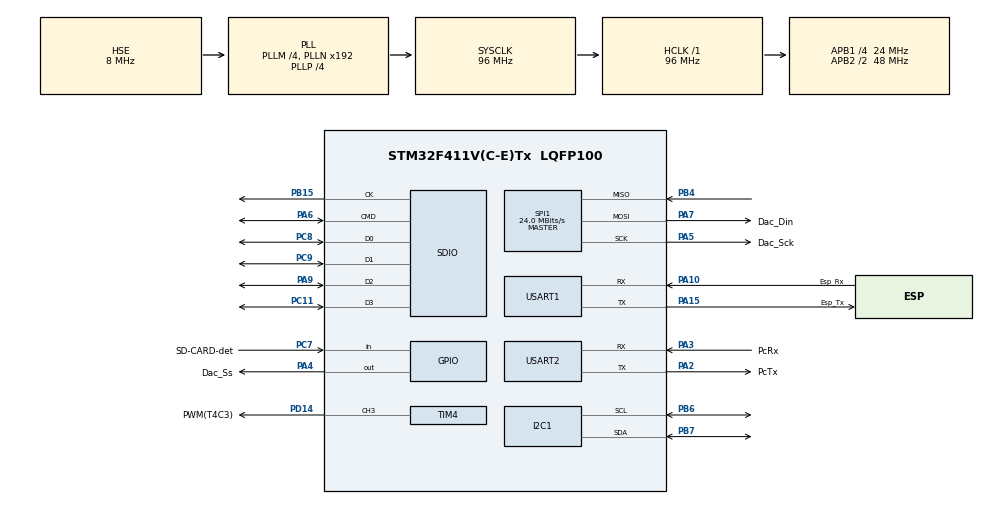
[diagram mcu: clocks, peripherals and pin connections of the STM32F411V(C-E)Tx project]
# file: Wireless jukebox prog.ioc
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FATFS._USE_LFN=0
Mcu.Family=STM32F4
Mcu.Name=STM32F411V(C-E)Tx
Mcu.Package=LQFP100
NVIC.PriorityGroup=NVIC_PRIORITYGROUP_4
NVIC.TIM3_IRQn=true\:0\:0\:false
PA10.GPIO_Label=Esp_Rx
PA10.Mode=Asynchronous
PA10.Signal=USART1_RX
PA13.Signal=SYS_JTMS-SWDIO
PA14.Signal=SYS_JTCK-SWCLK
PA15.GPIO_Label=Esp_Tx
PA15.Mode=Asynchronous
PA15.Signal=USART1_TX
PA2.GPIO_Label=PcTx
PA2.Mode=Asynchronous
PA2.Signal=USART2_TX
PA3.GPIO_Label=PcRx
PA3.Mode=Asynchronous
PA3.Signal=USART2_RX
PA4.GPIO_Label=Dac_Ss
PA4.Signal=GPIO_Output
PA5.GPIO_Label=Dac_Sck
PA5.Mode=Full_Duplex_Master
PA5.Signal=SPI1_SCK
PA6.Mode=SD_4_bits_Wide_bus
PA6.Signal=SDIO_CMD
PA7.GPIO_Label=Dac_Din
PA7.Mode=Full_Duplex_Master
PA7.Signal=SPI1_MOSI
PA9.Mode=SD_4_bits_Wide_bus
PA9.Signal=SDIO_D2
PB15.Mode=SD_4_bits_Wide_bus
PB15.Signal=SDIO_CK
PB3.Signal=SYS_JTDO-SWO
PB4.Mode=Full_Duplex_Master
PB4.Signal=SPI1_MISO
PB6.Mode=I2C
PB6.Signal=I2C1_SCL
PB7.Mode=I2C
PB7.Signal=I2C1_SDA
PC11.Mode=SD_4_bits_Wide_bus
PC11.Signal=SDIO_D3
PC7.GPIO_Label=SD-CARD-det
PC7.Signal=GPIO_Input
PC8.Mode=SD_4_bits_Wide_bus
PC8.Signal=SDIO_D0
PC9.Mode=SD_4_bits_Wide_bus
PC9.Signal=SDIO_D1
PD14.GPIO_Label=PWM(T4C3)
PD14.Signal=S_TIM4_CH3
PH0\ -\ OSC_IN.Mode=HSE-External-Oscillator
PH0\ -\ OSC_IN.Signal=RCC_OSC_IN
PH1\ -\ OSC_OUT.Mode=HSE-External-Oscillator
PH1\ -\ OSC_OUT.Signal=RCC_OSC_OUT
ProjectManager.HeapSize=0x400
ProjectManager.StackSize=0x200
ProjectManager.TargetToolchain=TrueSTUDIO
RCC.48MHZClocksFreq_Value=48000000
RCC.AHBFreq_Value=96000000
RCC.APB1CLKDivider=RCC_HCLK_DIV4
RCC.APB1Freq_Value=24000000
RCC.APB1TimFreq_Value=48000000
RCC.APB2CLKDivider=RCC_HCLK_DIV2
RCC.APB2Freq_Value=48000000
RCC.APB2TimFreq_Value=96000000
RCC.CortexFreq_Value=96000000
RCC.HCLKFreq_Value=96000000
RCC.HSE_VALUE=8000000
RCC.HSI_VALUE=16000000
RCC.LSE_VALUE=32768
RCC.PLLM=4
RCC.PLLP=RCC_PLLP_DIV4
RCC.PLLQ=8
RCC.PLLSourceVirtual=RCC_PLLSOURCE_HSE
RCC.SYSCLKFreq_VALUE=96000000
RCC.SYSCLKSource=RCC_SYSCLKSOURCE_PLLCLK
RCC.VCOOutputFreq_Value=384000000
SDIO.BusWide=SDIO_BUS_WIDE_1B
SDIO.ClockDiv=0
SDIO.WideMode=SDIO_BUS_WIDE_4B
SH.S_TIM4_CH3.0=TIM4_CH3,PWM Generation3 CH3
SPI1.BaudRatePrescaler=SPI_BAUDRATEPRESCALER_2
SPI1.CalculateBaudRate=24.0 MBits/s
SPI1.Mode=SPI_MODE_MASTER
TIM3.Period=272
TIM3.Prescaler=3
TIM4.Channel-PWM\ Generation3\ CH3=TIM_CHANNEL_3
TIM4.Period=256
VP_FATFS_VS_SDIO.Mode=SDIO
VP_TIM3_VS_ClockSourceINT.Mode=Internal
VP_TIM4_VS_ClockSourceINT.Mode=Internal
board=Wireless jukebox prog

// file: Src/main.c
/**
  ******************************************************************************
  * File Name          : main.c
  * Description        : Main program body
  ******************************************************************************
  *
  * COPYRIGHT(c) 2016 STMicroelectronics
  *
  * Redistribution and use in source and binary forms, with or without modification,
  * are permitted provided that the following conditions are met:
  *   1. Redistributions of source code must retain the above copyright notice,
  *      this list of conditions and the following disclaimer.
  *   2. Redistributions in binary form must reproduce the above copyright notice,
  *      this list of conditions and the following disclaimer in the documentation
  *      and/or other materials provided with the distribution.
  *   3. Neither the name of STMicroelectronics nor the names of its contributors
  *      may be used to endorse or promote products derived from this software
  *      without specific prior written permission.
  *
  * THIS SOFTWARE IS PROVIDED BY THE COPYRIGHT HOLDERS AND CONTRIBUTORS "AS IS"
  * AND ANY EXPRESS OR IMPLIED WARRANTIES, INCLUDING, BUT NOT LIMITED TO, THE
  * IMPLIED WARRANTIES OF MERCHANTABILITY AND FITNESS FOR A PARTICULAR PURPOSE ARE
  * DISCLAIMED. IN NO EVENT SHALL THE COPYRIGHT HOLDER OR CONTRIBUTORS BE LIABLE
  * FOR ANY DIRECT, INDIRECT, INCIDENTAL, SPECIAL, EXEMPLARY, OR CONSEQUENTIAL
  * DAMAGES (INCLUDING, BUT NOT LIMITED TO, PROCUREMENT OF SUBSTITUTE GOODS OR
  * SERVICES; LOSS OF USE, DATA, OR PROFITS; OR BUSINESS INTERRUPTION) HOWEVER
  * CAUSED AND ON ANY THEORY OF LIABILITY, WHETHER IN CONTRACT, STRICT LIABILITY,
  * OR TORT (INCLUDING NEGLIGENCE OR OTHERWISE) ARISING IN ANY WAY OUT OF THE USE
  * OF THIS SOFTWARE, EVEN IF ADVISED OF THE POSSIBILITY OF SUCH DAMAGE.
  *
  ******************************************************************************
  */
#include "stm32f4xx_hal.h"
#include "fatfs.h"

/* USER CODE BEGIN Includes */

#include <string.h>
#include <stdlib.h>

#include "wav.h"

/* USER CODE END Includes */

I2C_HandleTypeDef hi2c1;

SD_HandleTypeDef hsd;
HAL_SD_CardInfoTypedef SDCardInfo;

SPI_HandleTypeDef hspi1;

TIM_HandleTypeDef htim3;
TIM_HandleTypeDef htim4;

UART_HandleTypeDef huart1;
UART_HandleTypeDef huart2;

/* USER CODE BEGIN PV */
/* Private variables ---------------------------------------------------------*/

// Deze variabelen zijn de buffers voor de wav file
volatile char wavBuffer0[512],wavBuffer1[512];
volatile uint8_t wavBufferSelect = 0;
volatile uint8_t bufferEnd,songEnd = 0;

// Var voor het fatfs filesystem
FATFS SDFatFs;
FIL MyFile;

/* USER CODE END PV */

void SystemClock_Config(void);
static void MX_GPIO_Init(void);
static void MX_I2C1_Init(void);
static void MX_SDIO_SD_Init(void);
static void MX_SPI1_Init(void);
static void MX_TIM4_Init(void);
static void MX_USART2_UART_Init(void);
static void MX_TIM3_Init(void);
static void MX_USART1_UART_Init(void);

void HAL_TIM_MspPostInit(TIM_HandleTypeDef *htim);

/* USER CODE BEGIN PFP */
/* Private function prototypes -----------------------------------------------*/

/* USER CODE END PFP */

/* USER CODE BEGIN 0 */

//
//	Deze interuptroutine wordt opgeroepen bij elke timer comp-match
//
void HAL_TIM_PeriodElapsedCallback(TIM_HandleTypeDef *htim)
{
	static uint16_t teller = 0;

	// We willen enkel de compare van timer3
	if(htim->Instance ==  TIM3)
	{
		if(wavBufferSelect == 0)	// Kijken uit welke buffer we moeten lezen
		{
			__HAL_TIM_SET_COMPARE(&htim4,TIM_CHANNEL_3, wavBuffer0[teller]);
		}
		else
		{
			__HAL_TIM_SET_COMPARE(&htim4,TIM_CHANNEL_3, wavBuffer1[teller]);
		}
		teller++;

		if(teller >= 512)
		{
			bufferEnd = 1;
			wavBufferSelect = ! wavBufferSelect;
			teller = 0;
		}
	}

}

/* USER CODE END 0 */

int main(void)
{

  /* MCU Configuration----------------------------------------------------------*/

  /* Reset of all peripherals, Initializes the Flash interface and the Systick. */
  HAL_Init();

  /* Configure the system clock */
  SystemClock_Config();

  /* Initialize all configured peripherals */
  MX_GPIO_Init();
  MX_I2C1_Init();
  MX_SDIO_SD_Init();
  MX_SPI1_Init();
  MX_TIM4_Init();
  MX_USART2_UART_Init();
  MX_TIM3_Init();
  MX_USART1_UART_Init();
  MX_FATFS_Init();

  /* USER CODE BEGIN 2 */

  // We halen alle titels op vanaf de sd-kaart en slagen deze op in een array
  char * titels[10];
  uint8_t aantal = getTitels(&MyFile,titels,10);
  uint8_t teller = 0;

  // We gaan nu de eerste wav buffer vullen, hiervoor pakken we steeds nummer 0
  probeer(f_open(&MyFile,"0.wav",FA_READ),"openen file 0.wav");
  getData(&MyFile,wavBuffer0,512);
  getData(&MyFile,wavBuffer1,512);
  //f_close(&MyFile);

  // Timer3 en pwm output starten
  HAL_TIM_Base_Start_IT(&htim3);
  HAL_TIM_PWM_Start(&htim4,TIM_CHANNEL_3);

//  // Sd kaart unmounten
//  if(MX_FatFs_Unmount() != 0)
//  {
//    //HAL_GPIO_WritePin(GPIOD,Led_Red_Pin,GPIO_PIN_SET);
//  }

  /* USER CODE END 2 */

  /* Infinite loop */
  while (1)
  {

  /* USER CODE BEGIN 3 */

	  if(bufferEnd == 1)
	  {
		  if(songEnd == 1)			// Als liedje gedaan is, gaan we de timer stoppen
		  {
			  HAL_TIM_Base_Stop_IT(&htim3);
			  HAL_TIM_PWM_Stop(&htim4,TIM_CHANNEL_3);
		  }
		  bufferEnd = 0;
		  if(wavBufferSelect == 0)		// Kijken in welke buffer de interupt aan het lezen is
		  {
			  // Interupt leest in 0, wij schrijven in 1
			  if(getData(&MyFile,wavBuffer1,512) == 1 ) songEnd = 1;

		  }
		  else
		  {
			  if(getData(&MyFile,wavBuffer0,512) == 1 ) songEnd = 1;
		  }

	  }

  }
  /* USER CODE END 3 */

}

/** System Clock Configuration
*/
void SystemClock_Config(void)
{

  RCC_OscInitTypeDef RCC_OscInitStruct;
  RCC_ClkInitTypeDef RCC_ClkInitStruct;

  __PWR_CLK_ENABLE();

  __HAL_PWR_VOLTAGESCALING_CONFIG(PWR_REGULATOR_VOLTAGE_SCALE1);

  RCC_OscInitStruct.OscillatorType = RCC_OSCILLATORTYPE_HSE;
  RCC_OscInitStruct.HSEState = RCC_HSE_ON;
  RCC_OscInitStruct.PLL.PLLState = RCC_PLL_ON;
  RCC_OscInitStruct.PLL.PLLSource = RCC_PLLSOURCE_HSE;
  RCC_OscInitStruct.PLL.PLLM = 4;
  RCC_OscInitStruct.PLL.PLLN = 192;
  RCC_OscInitStruct.PLL.PLLP = RCC_PLLP_DIV4;
  RCC_OscInitStruct.PLL.PLLQ = 8;
  HAL_RCC_OscConfig(&RCC_OscInitStruct);

  RCC_ClkInitStruct.ClockType = RCC_CLOCKTYPE_HCLK|RCC_CLOCKTYPE_SYSCLK
                              |RCC_CLOCKTYPE_PCLK1|RCC_CLOCKTYPE_PCLK2;
  RCC_ClkInitStruct.SYSCLKSource = RCC_SYSCLKSOURCE_PLLCLK;
  RCC_ClkInitStruct.AHBCLKDivider = RCC_SYSCLK_DIV1;
  RCC_ClkInitStruct.APB1CLKDivider = RCC_HCLK_DIV4;
  RCC_ClkInitStruct.APB2CLKDivider = RCC_HCLK_DIV2;
  HAL_RCC_ClockConfig(&RCC_ClkInitStruct, FLASH_LATENCY_3);

  HAL_SYSTICK_Config(HAL_RCC_GetHCLKFreq()/1000);

  HAL_SYSTICK_CLKSourceConfig(SYSTICK_CLKSOURCE_HCLK);

  /* SysTick_IRQn interrupt configuration */
  HAL_NVIC_SetPriority(SysTick_IRQn, 0, 0);
}

/* I2C1 init function */
void MX_I2C1_Init(void)
{

  hi2c1.Instance = I2C1;
  hi2c1.Init.ClockSpeed = 100000;
  hi2c1.Init.DutyCycle = I2C_DUTYCYCLE_2;
  hi2c1.Init.OwnAddress1 = 0;
  hi2c1.Init.AddressingMode = I2C_ADDRESSINGMODE_7BIT;
  hi2c1.Init.DualAddressMode = I2C_DUALADDRESS_DISABLED;
  hi2c1.Init.OwnAddress2 = 0;
  hi2c1.Init.GeneralCallMode = I2C_GENERALCALL_DISABLED;
  hi2c1.Init.NoStretchMode = I2C_NOSTRETCH_DISABLED;
  HAL_I2C_Init(&hi2c1);

}

/* SDIO init function */
void MX_SDIO_SD_Init(void)
{

  hsd.Instance = SDIO;
  hsd.Init.ClockEdge = SDIO_CLOCK_EDGE_RISING;
  hsd.Init.ClockBypass = SDIO_CLOCK_BYPASS_DISABLE;
  hsd.Init.ClockPowerSave = SDIO_CLOCK_POWER_SAVE_DISABLE;
  hsd.Init.BusWide = SDIO_BUS_WIDE_1B;
  hsd.Init.HardwareFlowControl = SDIO_HARDWARE_FLOW_CONTROL_DISABLE;
  hsd.Init.ClockDiv = 0;

}

/* SPI1 init function */
void MX_SPI1_Init(void)
{

  hspi1.Instance = SPI1;
  hspi1.Init.Mode = SPI_MODE_MASTER;
  hspi1.Init.Direction = SPI_DIRECTION_2LINES;
  hspi1.Init.DataSize = SPI_DATASIZE_8BIT;
  hspi1.Init.CLKPolarity = SPI_POLARITY_LOW;
  hspi1.Init.CLKPhase = SPI_PHASE_1EDGE;
  hspi1.Init.NSS = SPI_NSS_SOFT;
  hspi1.Init.BaudRatePrescaler = SPI_BAUDRATEPRESCALER_2;
  hspi1.Init.FirstBit = SPI_FIRSTBIT_MSB;
  hspi1.Init.TIMode = SPI_TIMODE_DISABLED;
  hspi1.Init.CRCCalculation = SPI_CRCCALCULATION_DISABLED;
  hspi1.Init.CRCPolynomial = 10;
  HAL_SPI_Init(&hspi1);

}

/* TIM3 init function */
void MX_TIM3_Init(void)
{

  TIM_ClockConfigTypeDef sClockSourceConfig;
  TIM_MasterConfigTypeDef sMasterConfig;

  htim3.Instance = TIM3;
  htim3.Init.Prescaler = 3;
  htim3.Init.CounterMode = TIM_COUNTERMODE_UP;
  htim3.Init.Period = 272;
  htim3.Init.ClockDivision = TIM_CLOCKDIVISION_DIV1;
  HAL_TIM_Base_Init(&htim3);

  sClockSourceConfig.ClockSource = TIM_CLOCKSOURCE_INTERNAL;
  HAL_TIM_ConfigClockSource(&htim3, &sClockSourceConfig);

  sMasterConfig.MasterOutputTrigger = TIM_TRGO_RESET;
  sMasterConfig.MasterSlaveMode = TIM_MASTERSLAVEMODE_DISABLE;
  HAL_TIMEx_MasterConfigSynchronization(&htim3, &sMasterConfig);

}

/* TIM4 init function */
void MX_TIM4_Init(void)
{

  TIM_ClockConfigTypeDef sClockSourceConfig;
  TIM_MasterConfigTypeDef sMasterConfig;
  TIM_OC_InitTypeDef sConfigOC;

  htim4.Instance = TIM4;
  htim4.Init.Prescaler = 0;
  htim4.Init.CounterMode = TIM_COUNTERMODE_UP;
  htim4.Init.Period = 256;
  htim4.Init.ClockDivision = TIM_CLOCKDIVISION_DIV1;
  HAL_TIM_Base_Init(&htim4);

  sClockSourceConfig.ClockSource = TIM_CLOCKSOURCE_INTERNAL;
  HAL_TIM_ConfigClockSource(&htim4, &sClockSourceConfig);

  HAL_TIM_PWM_Init(&htim4);

  sMasterConfig.MasterOutputTrigger = TIM_TRGO_RESET;
  sMasterConfig.MasterSlaveMode = TIM_MASTERSLAVEMODE_DISABLE;
  HAL_TIMEx_MasterConfigSynchronization(&htim4, &sMasterConfig);

  sConfigOC.OCMode = TIM_OCMODE_PWM1;
  sConfigOC.Pulse = 0;
  sConfigOC.OCPolarity = TIM_OCPOLARITY_HIGH;
  sConfigOC.OCFastMode = TIM_OCFAST_DISABLE;
  HAL_TIM_PWM_ConfigChannel(&htim4, &sConfigOC, TIM_CHANNEL_3);

  HAL_TIM_MspPostInit(&htim4);

}

/* USART1 init function */
void MX_USART1_UART_Init(void)
{

  huart1.Instance = USART1;
  huart1.Init.BaudRate = 115200;
  huart1.Init.WordLength = UART_WORDLENGTH_8B;
  huart1.Init.StopBits = UART_STOPBITS_1;
  huart1.Init.Parity = UART_PARITY_NONE;
  huart1.Init.Mode = UART_MODE_TX_RX;
  huart1.Init.HwFlowCtl = UART_HWCONTROL_NONE;
  huart1.Init.OverSampling = UART_OVERSAMPLING_16;
  HAL_UART_Init(&huart1);

}

/* USART2 init function */
void MX_USART2_UART_Init(void)
{

  huart2.Instance = USART2;
  huart2.Init.BaudRate = 115200;
  huart2.Init.WordLength = UART_WORDLENGTH_8B;
  huart2.Init.StopBits = UART_STOPBITS_1;
  huart2.Init.Parity = UART_PARITY_NONE;
  huart2.Init.Mode = UART_MODE_TX_RX;
  huart2.Init.HwFlowCtl = UART_HWCONTROL_NONE;
  huart2.Init.OverSampling = UART_OVERSAMPLING_16;
  HAL_UART_Init(&huart2);

}

/** Configure pins as
        * Analog
        * Input
        * Output
        * EVENT_OUT
        * EXTI
*/
void MX_GPIO_Init(void)
{

  GPIO_InitTypeDef GPIO_InitStruct;

  /* GPIO Ports Clock Enable */
  __GPIOH_CLK_ENABLE();
  __GPIOA_CLK_ENABLE();
  __GPIOB_CLK_ENABLE();
  __GPIOD_CLK_ENABLE();
  __GPIOC_CLK_ENABLE();

  /*Configure GPIO pin Output Level */
  HAL_GPIO_WritePin(Dac_Ss_GPIO_Port, Dac_Ss_Pin, GPIO_PIN_RESET);

  /*Configure GPIO pin : Dac_Ss_Pin */
  GPIO_InitStruct.Pin = Dac_Ss_Pin;
  GPIO_InitStruct.Mode = GPIO_MODE_OUTPUT_PP;
  GPIO_InitStruct.Pull = GPIO_NOPULL;
  GPIO_InitStruct.Speed = GPIO_SPEED_LOW;
  HAL_GPIO_Init(Dac_Ss_GPIO_Port, &GPIO_InitStruct);

  /*Configure GPIO pin : SD_CARD_det_Pin */
  GPIO_InitStruct.Pin = SD_CARD_det_Pin;
  GPIO_InitStruct.Mode = GPIO_MODE_INPUT;
  GPIO_InitStruct.Pull = GPIO_NOPULL;
  HAL_GPIO_Init(SD_CARD_det_GPIO_Port, &GPIO_InitStruct);

}

/************************ (C) COPYRIGHT STMicroelectronics *****END OF FILE****/
